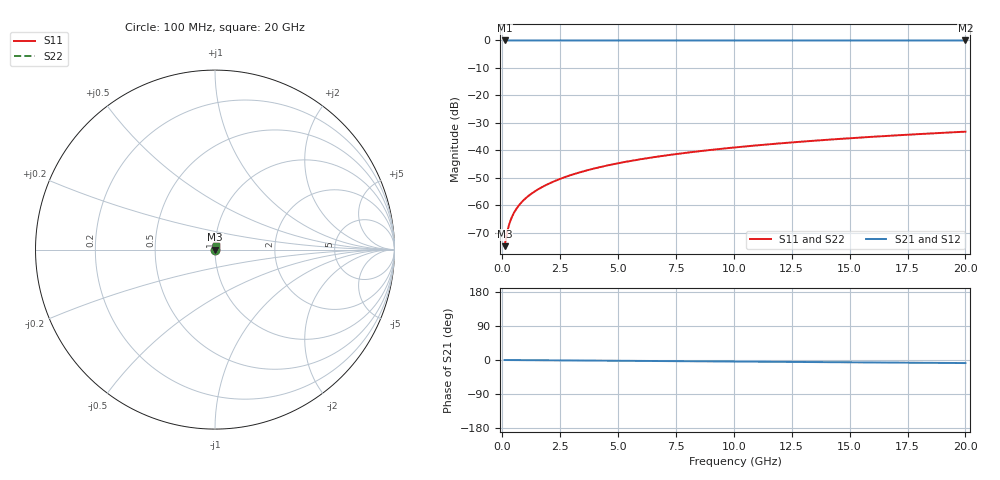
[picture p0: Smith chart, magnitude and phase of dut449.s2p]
! Touchstone file exported from HFSS 2026.1.0
!  File:  C:/ffzhzh/LocalFiles/Ansys_Project_Files/temp_train_TSV_449_1783021672_53980.aedt
!  Generated:  03:49:30 AM Jul  3, 2026
!  Design:  TSV
!  Project:  temp_train_TSV_449_1783021672_53980
! Variables:
!  h_bsmrdl = 2um
!  h_ox = 20um
!  h_rdl = 5um
!  h_sub = 76.78um
!  h_tmrdl = 5um
!  h_tsv = 76.78um
!  h_via = 3um
!  l_bsmrdl = 300um
!  l_sub = 422.62um
!  l_tmrdl = 200um
!  m_sub = 200um
!  pitch = 53.92um
!  r_tsv = 11.31um
!  s_tmrdl = 10um
!  w_bsmrdl = 18um
!  w_sub = 500um
!  w_tmrdl = 12um
!  x_tsv_center1 = 206um
!  x_tsv_center2 = 524um
!  x_tsv_center3 = 736um
!  x_tsv_center4 = 1054um
!  x_tsv_center5 = 1266um
!  x_tsv_center6 = 1584um
# GHz S MA R 50.000000
! Terminal data exported
! Port[1] = TSV1_1_T1
! Port[2] = TSV1_1_T2
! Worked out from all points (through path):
!   200 points, 100 MHz to 20 GHz, reference 50 ohm
!   highest |S21| = 0.00 dB at 100 MHz (marker M1); lowest = 0.0 dB at 20 GHz (marker M2)
!   group delay of S21, straight-line fit = 1.12 ps
!   lowest |S11| = -74.9 dB at 100 MHz (marker M3), VSWR 1.00, Z = 50 + j0.0148 ohm
!   |S11| at or under -10 dB: start of sweep to end of sweep
!   |S22| runs from -74.9 to -33.2 dB; largest |S21 - S12| = 6.2e-15
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0.1  0.0001795 55.8  0.9999 -0.0  0.9999 -0.0  0.0001795 55.8
! Gamma 0 0 0 0
! Port Impedance 50 0 50 0
0.2  0.0003148 69.1  0.9999 -0.1  0.9999 -0.1  0.0003148 69.1
0.3  0.0004541 73.5  0.9999 -0.1  0.9999 -0.1  0.0004541 73.5
0.4  0.0005904 75.3  0.9999 -0.2  0.9999 -0.2  0.0005904 75.3
0.5  0.0007221 76.2  0.9998 -0.2  0.9998 -0.2  0.0007221 76.2
0.6  0.0008493 76.8  0.9998 -0.3  0.9998 -0.3  0.0008493 76.8
0.7  0.0009726 77.2  0.9998 -0.3  0.9998 -0.3  0.0009726 77.2
0.9  0.00121 77.8  0.9998 -0.4  0.9998 -0.4  0.00121 77.8
1.1  0.001441 78.5  0.9997 -0.5  0.9997 -0.5  0.001441 78.5
1.3  0.001668 79.1  0.9997 -0.5  0.9997 -0.5  0.001668 79.1
1.6  0.002006 79.9  0.9997 -0.7  0.9997 -0.7  0.002006 79.9
1.9  0.002343 80.5  0.9996 -0.8  0.9996 -0.8  0.002343 80.5
2.6  0.003129 81.5  0.9996 -1.1  0.9996 -1.1  0.003129 81.5
3.5  0.004137 82.2  0.9995 -1.4  0.9995 -1.4  0.004137 82.2
4.2  0.004916 82.4  0.9995 -1.7  0.9995 -1.7  0.004916 82.4
5  0.0058 82.5  0.9994 -2.0  0.9994 -2.0  0.0058 82.5
6.8  0.007769 82.4  0.9993 -2.8  0.9993 -2.8  0.007769 82.4
8.3  0.009394 82.2  0.9992 -3.4  0.9992 -3.4  0.009394 82.2
10.1  0.01133 81.9  0.9991 -4.1  0.9991 -4.1  0.01133 81.9
13.4  0.01486 81.1  0.999 -5.4  0.999 -5.4  0.01486 81.1
16.7  0.01836 80.1  0.9988 -6.8  0.9988 -6.8  0.01836 80.1
20  0.02182 79.0  0.9986 -8.1  0.9986 -8.1  0.02182 79.0
